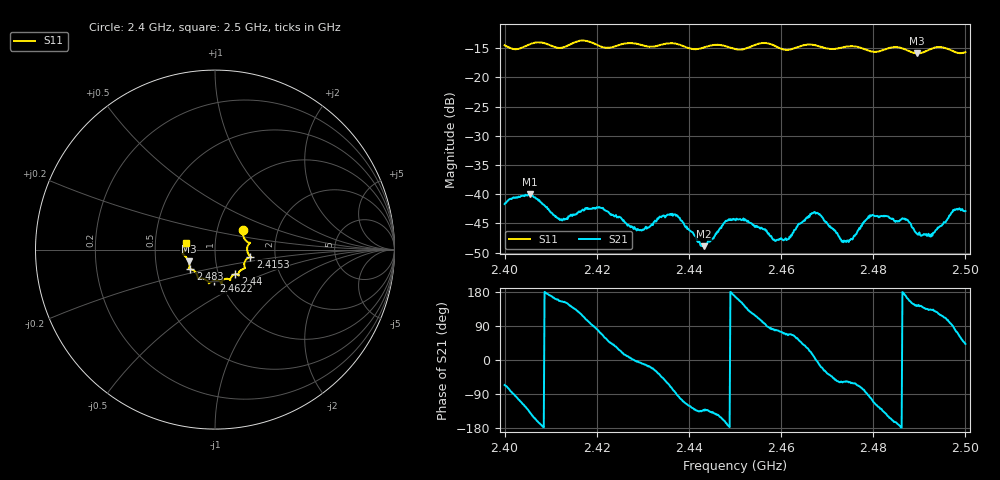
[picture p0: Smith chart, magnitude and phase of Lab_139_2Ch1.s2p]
# Hz S RI R 50
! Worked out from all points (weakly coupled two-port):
!   601 points, 2.4 GHz to 2.5 GHz, reference 50 ohm
!   highest |S21| = -40.03 dB at 2.4055 GHz (marker M1); lowest = -48.9 dB at 2.4432 GHz (marker M2)
!   lowest |S11| = -15.9 dB at 2.4895 GHz (marker M3), VSWR 1.38, Z = 36.9 - j4.99 ohm
!   |S11| at or under -10 dB: start of sweep to end of sweep
!   S12 and S22 are empty: the file has one direction only
!   S11 on the Smith chart (normalised r, x): 2.4 GHz: 1.33, +0.29; 2.4153 GHz: 1.48, -0.12; 2.44 GHz: 1.20, -0.34; 2.4622 GHz: 0.93, -0.33; 2.483 GHz: 0.74, -0.17; 2.5 GHz: 0.72, +0.06
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2.4e9  0.1554 0.1064  0.00335 -0.00754  0 0  0 0
2.4055e9  0.1883 0.0389  -0.00746 -0.00662  0 0  0 0
2.412e9  0.1787 -0.000471  -0.00549 0.00246  0 0  0 0
2.415333e9  0.1968 -0.0387  -0.00466 0.00487  0 0  0 0
2.416667e9  0.2022 -0.0428  -0.00363 0.00624  0 0  0 0
2.421e9  0.1749 -0.0541  0.00276 0.0071  0 0  0 0
2.429167e9  0.1602 -0.1058  0.00489 -0.000524  0 0  0 0
2.433333e9  0.1312 -0.1336  0.005 -0.0036  0 0  0 0
2.437167e9  0.1315 -0.143  0.000296 -0.00654  0 0  0 0
2.44e9  0.1137 -0.1367  -0.00254 -0.00426  0 0  0 0
2.443167e9  0.0884 -0.1566  -0.00238 -0.00269  0 0  0 0
2.45e9  0.0647 -0.1626  -0.00595 0.00132  0 0  0 0
2.458667e9  0.0332 -0.1832  0.000835 0.00391  0 0  0 0
2.462167e9  -0.00762 -0.1738  0.00172 0.00413  0 0  0 0
2.466667e9  -0.0341 -0.1876  0.0066 0.00199  0 0  0 0
2.473667e9  -0.0856 -0.1605  0.00217 -0.00338  0 0  0 0
2.479333e9  -0.1053 -0.1304  -0.00109 -0.00653  0 0  0 0
2.483e9  -0.1377 -0.1096  -0.00537 -0.00365  0 0  0 0
2.483333e9  -0.1402 -0.1093  -0.00554 -0.00329  0 0  0 0
2.4895e9  -0.1464 -0.0657  -0.00363 0.00281  0 0  0 0
2.492667e9  -0.1738 -0.0295  -0.00308 0.00337  0 0  0 0
2.5e9  -0.1595 0.0395  0.00529 0.00485  0 0  0 0
